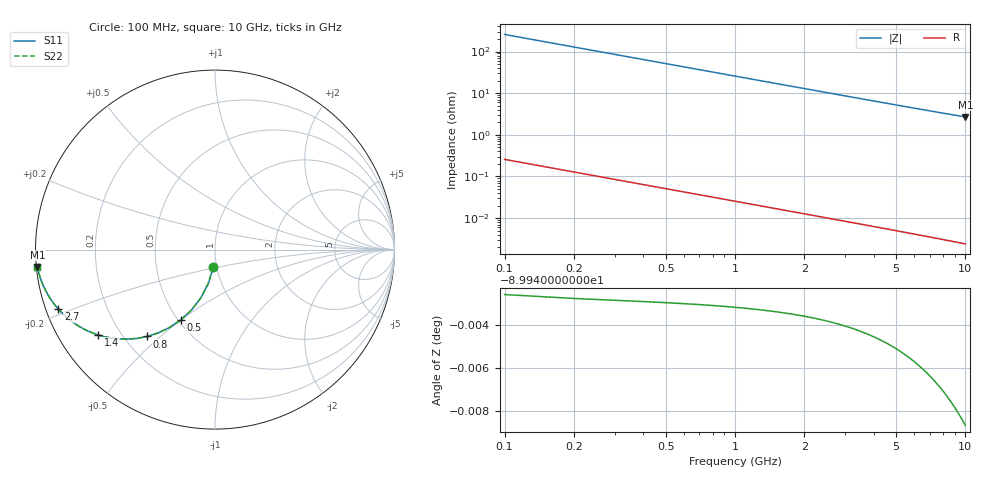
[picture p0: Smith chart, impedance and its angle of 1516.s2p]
# Hz S RI R 50.00
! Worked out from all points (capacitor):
!   100 points, 100 MHz to 10 GHz, reference 50 ohm
!   read as one part in shunt: C = 6.2 pF near 100 MHz
!   lowest |Z| = 2.68 ohm at 10 GHz (marker M1)
!   S11 on the Smith chart (normalised r, x): 100 MHz: 0.96, -0.19; 500 MHz: 0.51, -0.50; 800 MHz: 0.29, -0.45; 1.4 GHz: 0.12, -0.32; 2.7 GHz: 0.04, -0.18; 10 GHz: 0.00, -0.05
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1e8  -0.00949 -0.0965  0.9905 -0.0966  0.9905 -0.0966  -0.00949 -0.0965
2e8  -0.0368 -0.1876  0.9632 -0.1878  0.9632 -0.1878  -0.0368 -0.1876
3e8  -0.0789 -0.269  0.921 -0.2693  0.921 -0.2693  -0.0789 -0.269
4e8  -0.1321 -0.3379  0.8679 -0.3383  0.8679 -0.3383  -0.1321 -0.3379
5e8  -0.192 -0.3931  0.808 -0.3936  0.808 -0.3936  -0.192 -0.3931
6e8  -0.2548 -0.435  0.7452 -0.4355  0.7452 -0.4355  -0.2548 -0.435
7e8  -0.3174 -0.4647  0.6826 -0.4653  0.6826 -0.4653  -0.3174 -0.4647
8e8  -0.3777 -0.484  0.6223 -0.4847  0.6223 -0.4847  -0.3777 -0.484
9e8  -0.4343 -0.4948  0.5657 -0.4956  0.5657 -0.4956  -0.4343 -0.4948
1.1e9  -0.5339 -0.4978  0.4661 -0.4989  0.4661 -0.4989  -0.5339 -0.4978
1.2e9  -0.5767 -0.493  0.4232 -0.4941  0.4232 -0.4941  -0.5767 -0.493
1.4e9  -0.6494 -0.476  0.3505 -0.4773  0.3505 -0.4773  -0.6494 -0.476
1.6e9  -0.7074 -0.4537  0.2926 -0.4552  0.2926 -0.4552  -0.7074 -0.4537
1.8e9  -0.7535 -0.4297  0.2465 -0.4313  0.2465 -0.4313  -0.7535 -0.4297
2.2e9  -0.82 -0.3826  0.18 -0.3847  0.18 -0.3847  -0.82 -0.3826
2.7e9  -0.8726 -0.3317  0.1274 -0.3342  0.1274 -0.3342  -0.8726 -0.3317
3.4e9  -0.9155 -0.2761  0.0845 -0.2792  0.0845 -0.2792  -0.9155 -0.2761
4.2e9  -0.9428 -0.2297  0.0571 -0.2336  0.0571 -0.2336  -0.9428 -0.2297
5.1e9  -0.9605 -0.192  0.0395 -0.1967  0.0395 -0.1967  -0.9605 -0.192
6.7e9  -0.9767 -0.1471  0.0233 -0.1535  0.0233 -0.1535  -0.9767 -0.1471
8.4e9  -0.9851 -0.1166  0.0149 -0.1246  0.0149 -0.1246  -0.9851 -0.1166
1e10  -0.9895 -0.0966  0.0105 -0.1062  0.0105 -0.1062  -0.9895 -0.0966
